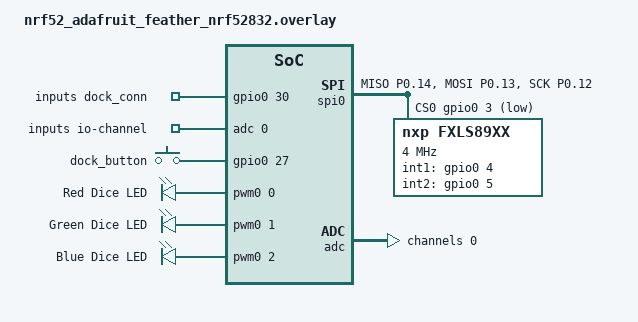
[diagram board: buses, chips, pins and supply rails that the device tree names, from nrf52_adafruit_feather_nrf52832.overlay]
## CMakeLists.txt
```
cmake_minimum_required(VERSION 3.20.0)

list(APPEND ZEPHYR_EXTRA_MODULES ${CMAKE_CURRENT_SOURCE_DIR}/modules/BP-FXLS89xx-Driver)

find_package(Zephyr REQUIRED HINTS $ENV{ZEPHYR_BASE})

project(lped)

target_sources(app PRIVATE src/lib/phy/phy_dice.c)
target_sources(app PRIVATE src/lib/side/side.c)
target_sources(app PRIVATE src/lib/bt/bt_dice.c)
target_sources(app PRIVATE src/lib/dock/dock.c)
target_sources(app PRIVATE src/lib/storage/storage.c)

target_sources(app PRIVATE src/main.c)
```

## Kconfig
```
source "$ZEPHYR_BASE/Kconfig"

menu "LPED feature options"

config LPED_IGNORE_DOCK_AT_STARTUP
    bool "Ignore dock connection at startup"
    default n
    help
        This option will set the LPED to ignore dock connection status on startup, 
        resulting in the dice always transitioning to the active state, instead of 
        determining what state it should transition based on the dock connection

config LPED_FACTORY_RESET_AT_STARTUP
    bool "Run factory reset at startup"
    default n
    help
        Erase all user settings from flash memory, including dice and side definitions, 
        blinking preferences and selected profile

config LPED_FORCE_CONNECTABLE_AT_STARTUP
    bool "Start in connectable state"
    default n
    depends on !LPED_IGNORE_DOCK_AT_STARTUP
    help
        Transition to connectable state at startup, allowing the dice to be connected 
        without pressing the dock button
        If this is enabled the CONFIG_LPED_IGNORE_DOCK_AT_STARTUP is ignored, since the 
        die has to transition into Bluetooth state regardless of the DOCK_CON pin state

config LPED_CAP_STATE_IN_ROLLING_MSG
    bool "Send cap state as a message content with rolling status"
    default y
    help
       Send the capacitor state of charge in ROLLING type status message, 
       saving one message for each dice throw. It is sent in every ROLLING
       message

config LPED_CAP_STATE_INTERVAL
    int "Interval for sending separate capacitor state message"
    default 3
    depends on !LPED_CAP_STATE_IN_ROLLING_MSG
    help 
        Defines interval between separate CAP_STATE status messages. For
        sending every dice throw, set to 0. This config is ignore if 
        CONFIG_LPED_CAP_STATE_IN_ROLLING_MSG is enabled.

config LPED_DOCK_DEBOUNCE_TIME
    int "Debounce time in ms for dock connection and button press"
    default 100
    help
        Debounce time for dock connection and button press to avoid
        reacting to distortions in the signal

config LPED_ACC_DEBOUNCE_TIME
    int "Debounce time for accelerometer interrupts"
    default 100
    help
       Debounce time for accelerometer interrupts to avoid reacting 
       to signal coming from the accelerometer changes that are too fast
       and should be ignored

config LPED_CONNECTABLE_TIMEOUT
    int "Defines for how many seconds should the die be connectable"
    default 30
    help 
        Defines for how many seconds should the die be connectable 
        after the button press. If this timeout is reached before 
        a device is connected, the die has to be reconnected into the
        dock in order to reset the visibility and connectable timer. 

config LPED_CONNECTED_TIMEOUT
    int "Defines for how many seconds should the die stay connected"
    default 600
    help
        Defines for how many seconds will the die stay connected to the 
        device between operations. This timer is reset after any read or 
        write of the GATT characteristic. After this timeout is reached
        the die will transition into invisible state

config LPED_DOCK_BUTTON_LONG_PRESS_DURATION
    int "Defines how many seconds it takes to register a button press as long press"
    default 2
    help 
        Defines how many seconds it takes to register a button press as long press

config LPED_ACC_BOOT_DURATION
    int "Defines how many milliseconds it takes for the accelerometer to boot up"
    default 20
    help
        Defines how many milliseconds it takes for the accelerometer to boot up. 
        During this time, interrupts received on INT1 and INT2 connected pins 
        will be ignored

config LPED_BT_STATE_INTERVAL
    int "Defines how many milliseconds are between accelerometer and capacitor state readings"
    default 100
    help
        Defines how many milliseconds are between accelerometer and capacitor state readings
        when the die is connected to a client application

config LPED_LED_DURATION_RESOLUTION
    int "Defines the steps in duration"
    default 100
    help 
        Defines the steps in duration in the animation effect. For example value 50ms would 
        result in possible range of 50ms to 800ms (2**4 * 50).

config LPED_LED_FADE_STEP
    int "Defines the step size for fading LED effects"
    default 7
    help 
        Defines the step size for fading LED effects

config LPED_LED_FADE_TYPE_FAST_DURATION 
    int "Defines the speed of fast fade"
    default 150 
    help 
        Defines how long will the fast fade effect take. This is additional time for each color. 

config LPED_LED_FADE_TYPE_SLOW_DURATION 
    int "Defines the speed of slow fade"
    default 300 
    help 
        Defines how long will the slow fade effect take. This is additional time for each color. 

config LPED_LED_EFFECTS_STACK_SIZE
    int "Defines size in bytes for the LED effects thread"
    default 1024
    help 
        Defines size in bytes for the LED effects thread

config LPED_CAP_MIN_READING
    int "Defines the value that represents 0% charge of the cap"
    default 121
    help
       Defines the value that represents 0% charge of the cap

config LPED_DEBUG_DISABLE_ACC
    bool "Enable to skip accelerometer inicialization and imports"
    default n
    help
       Enable to skip accelerometer inicialization and imports. Useful for new board testing and 
       debugging of accelerometer connection.

config LPED_DEBUG_NO_EXIT
    bool "Enable to keep the main thread running by placing infinite loop at the end of main"
    default n 
    help
       Enable to keep the main thread running by placing infinite loop at the end of main.

config LPED_BOOT_ANIMATION 
    bool "If enabled, a boot animation will be played when the dice finishes booting"
    default y
    help
        If enabled, a boot animation will be played when the dice finishes booting

config LPED_RGB_LED_COMMON_ANODE
    bool "Defines if the RGB LED has common anode (y) or cathode (n)"
    default y
    help 
        Defines if the RGB LED has common anode (y) or cathode (n)

endmenu
```

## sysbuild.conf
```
SB_CONFIG_BOOTLOADER_MCUBOOT=y
SB_CONFIG_PARTITION_MANAGER=y
```

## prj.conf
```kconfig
CONFIG_GPIO=y
CONFIG_ADC=y
CONFIG_SPI=y
CONFIG_PWM=y

CONFIG_LIB_FXLS89XX=y

# Flash storage
CONFIG_FLASH=y
CONFIG_NVS=y

CONFIG_MCUMGR=y
CONFIG_NET_BUF=y
CONFIG_ZCBOR=y
CONFIG_CRC=y
CONFIG_IMG_MANAGER=y
CONFIG_STREAM_FLASH=y
CONFIG_FLASH_MAP=y
CONFIG_MCUMGR_GRP_IMG=y
CONFIG_MCUMGR_GRP_OS=y
CONFIG_MCUMGR_GRP_OS_BOOTLOADER_INFO=y
CONFIG_MCUMGR_TRANSPORT_BT_REASSEMBLY=y
CONFIG_MCUMGR_GRP_OS_MCUMGR_PARAMS=y
CONFIG_MCUMGR_TRANSPORT_WORKQUEUE_STACK_SIZE=4608
CONFIG_BOOTLOADER_MCUBOOT=y
CONFIG_MCUBOOT_IMG_MANAGER=y
CONFIG_MCUMGR_TRANSPORT_BT=y
CONFIG_DFU_TARGET=y
CONFIG_BT_DFU_SMP=y
CONFIG_MCUMGR_GRP_ZBASIC=y
CONFIG_MCUMGR_GRP_ZBASIC_STORAGE_ERASE=y
CONFIG_MCUMGR_TRANSPORT_WORKQUEUE_STACK_SIZE=4608
CONFIG_BASE64=y
CONFIG_CRC=y
CONFIG_SHELL=y
CONFIG_MCUMGR_TRANSPORT_SHELL=y
CONFIG_MCUMGR_GRP_STAT=y
CONFIG_STATS_NAMES=y
CONFIG_STATS=y
CONFIG_MCUMGR_GRP_OS_TASKSTAT=y
CONFIG_THREAD_MONITOR=y

# Disable commands that are not needed
CONFIG_CLOCK_CONTROL_NRF_SHELL=n
CONFIG_DEVICE_SHELL=n
CONFIG_DEVMEM_SHELL=n
CONFIG_FLASH_SHELL=n

# LPED specific configs
CONFIG_LPED_FACTORY_RESET_AT_STARTUP=n
CONFIG_LPED_IGNORE_DOCK_AT_STARTUP=n
CONFIG_LPED_FORCE_CONNECTABLE_AT_STARTUP=n
CONFIG_LPED_CAP_STATE_IN_ROLLING_MSG=y
CONFIG_LPED_BT_STATE_INTERVAL=200
CONFIG_LPED_DEBUG_DISABLE_ACC=n
CONFIG_LPED_LED_EFFECTS_STACK_SIZE=2048
CONFIG_LPED_BOOT_ANIMATION=n
CONFIG_LPED_LED_FADE_TYPE_FAST_DURATION=100
CONFIG_LPED_RGB_LED_COMMON_ANODE=y

CONFIG_BT=y
CONFIG_BT_DEVICE_NAME="LPEDv2"
CONFIG_BT_EXT_ADV=y

CONFIG_BT_BROADCASTER=y
CONFIG_BT_PERIPHERAL=y

CONFIG_BT_BAS=y

# memory size optimizations
CONFIG_I2C=n
CONFIG_WATCHDOG=n
CONFIG_SERIAL=n
CONFIG_DYNAMIC_INTERRUPTS=n
CONFIG_THREAD_STACK_INFO=y
CONFIG_THREAD_CUSTOM_DATA=n
CONFIG_FPU=n
CONFIG_BT_CTLR_PRIVACY=n
CONFIG_BT_CTLR_PHY_2M=n
CONFIG_BT_DEBUG_NONE=y
CONFIG_BT_ASSERT=n
CONFIG_BT_DATA_LEN_UPDATE=n
CONFIG_BT_PHY_UPDATE=n
CONFIG_BT_GATT_SERVICE_CHANGED=n
CONFIG_BT_GAP_PERIPHERAL_PREF_PARAMS=n
CONFIG_BT_BUF_EVT_DISCARDABLE_COUNT=1
CONFIG_BT_BUF_EVT_RX_COUNT=2
CONFIG_BT_L2CAP_TX_BUF_COUNT=2
CONFIG_BT_L2CAP_TX_MTU=498
CONFIG_BT_BUF_ACL_RX_SIZE=502
CONFIG_BT_BUF_ACL_TX_SIZE=502
CONFIG_BT_RX_STACK_SIZE=2048
CONFIG_BT_HCI_TX_STACK_SIZE_WITH_PROMPT=y
CONFIG_BT_HCI_TX_STACK_SIZE=2048
CONFIG_SYSTEM_WORKQUEUE_STACK_SIZE=4096
CONFIG_MAIN_STACK_SIZE=2400
CONFIG_IDLE_STACK_SIZE=128
CONFIG_ISR_STACK_SIZE=1024

CONFIG_PM_DEVICE=y
CONFIG_PM_DEVICE_RUNTIME=y
CONFIG_REBOOT=y
CONFIG_POWEROFF=y
```

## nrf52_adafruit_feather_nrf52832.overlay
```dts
// To get started, press Ctrl+Space to bring up the completion menu and view the available nodes.

// You can also use the buttons in the sidebar to perform actions on nodes.
// Actions currently available include:

// * Enabling / disabling the node
// * Adding the bus to a bus
// * Removing the node
// * Connecting ADC channels

// For more help, browse the DeviceTree documentation at https://docs.zephyrproject.org/latest/guides/dts/index.html
// You can also visit the nRF DeviceTree extension documentation at https://docs.nordicsemi.com/bundle/nrf-connect-vscode/page/guides/ncs_configure_app.html#devicetree-support-in-the-extension


&spi0 {
	status = "okay";
	compatible = "nordic,nrf-spi";
	pinctrl-0 = <&spi0_default>;
	pinctrl-1 = <&spi0_sleep>;
	pinctrl-names = "default", "sleep";
	cs-gpios = <&gpio0 3 GPIO_ACTIVE_LOW>;
	fxls89xx: fxls89xx@0 {
		zephyr,pm-device-runtime-auto;
		compatible = "nxp,fxls89xx";
		reg = <0x0>;
		spi-max-frequency = <4000000>;
		int1-gpios = <&gpio0 4 GPIO_PULL_UP>;
		int2-gpios = <&gpio0 5 GPIO_PULL_UP>;
	};
};

&pinctrl {
	spi0_default: spi0_default {
		group1 {
			psels = <NRF_PSEL(SPIM_MISO,	0, 	14)>,
					<NRF_PSEL(SPIM_MOSI, 	0, 	13)>,
					<NRF_PSEL(SPIM_SCK, 	0, 	12)>;
		};
	};

	spi0_sleep: spi0_sleep {
		group1 {
			psels = <NRF_PSEL(SPIM_MISO,	0, 	14)>,
					<NRF_PSEL(SPIM_MOSI, 	0, 	13)>,
					<NRF_PSEL(SPIM_SCK, 	0, 	12)>;
			low-power-enable;
		};
	};
};

/ {
	inputs: zephyr,user {
		dock_conn-gpios = <&gpio0 30 GPIO_PULL_DOWN>;
		io-channels = <&adc 0>;
	};

	buttons {
		dockbutton: dock_button {
			gpios = <&gpio0 27 GPIO_PULL_DOWN>;
			label = "dock_button";
		};
	};

	pwmleds {
		compatible = "pwm-leds";
		diceled_red: dice_led_red {
			pwms = <&pwm0 0 20000 0>;
			label = "Red Dice LED";
		};

		diceled_green: dice_led_green {
			pwms = <&pwm0 1 20000 0>;
			label = "Green Dice LED";
		};

		diceled_blue: dice_led_blue {
			pwms = <&pwm0 2 20000 0>;
			label = "Blue Dice LED";
		};
	};
};

&adc {
	status = "okay";
	#address-cells = <1>;
	#size-cells = <0>;
	channel@0 {
		reg = <0>;
		zephyr,gain = "ADC_GAIN_1_6";			// Gain of 1/6 with internal reference (0.6V) results in range of +-3.6V
		zephyr,reference = "ADC_REF_INTERNAL";
		zephyr,acquisition-time = <ADC_ACQ_TIME_DEFAULT>;
		zephyr,input-positive = <NRF_SAADC_AIN0>;
		zephyr,resolution = <12>;
	};
};

&pwm0_default {
	group1 {
		psels = <NRF_PSEL(PWM_OUT0, 0, 16)>,
				<NRF_PSEL(PWM_OUT1, 0, 15)>,
				<NRF_PSEL(PWM_OUT2, 0, 7)>;
	};
};
```

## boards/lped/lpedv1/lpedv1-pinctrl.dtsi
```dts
&pinctrl {
	spi0_default: spi0_default {
		group1 {
			psels = <NRF_PSEL(SPIM_MISO,	0, 	20)>,
					<NRF_PSEL(SPIM_MOSI, 	0, 	18)>,
					<NRF_PSEL(SPIM_SCK, 	0, 	16)>;
		};
	};

	spi0_sleep: spi0_sleep {
		group1 {
			psels = <NRF_PSEL(SPIM_MISO,	0, 	20)>,
					<NRF_PSEL(SPIM_MOSI, 	0, 	18)>,
					<NRF_PSEL(SPIM_SCK, 	0, 	16)>;
			low-power-enable;
		};
	};
};
```

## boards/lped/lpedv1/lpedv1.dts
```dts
/dts-v1/;
#include <nordic/nrf52810_qfaa.dtsi>
#include "lpedv1-pinctrl.dtsi"

/ {
	model = "LPEDv1 board";
	compatible = "lped,lpedv1";

	chosen {
		zephyr,sram = &sram0;
		zephyr,flash = &flash0;
		zephyr,code-partition = &slot0_partition;
	};

	leds {
		compatible = "gpio-leds";
		diceled: dice_led {
			gpios = <&gpio0 6 (1 << 9)>;
			label = "Dice LED";
		};

		dockled: dock_led {
			gpios = <&gpio0 5 (1 << 9)>;
			label = "Dock LED";
		};
	};

	inputs: zephyr,user {
		dock_conn-gpios = <&gpio0 4 GPIO_PULL_DOWN>;
		io-channels = <&adc 0>;
	};

	buttons {
		compatible = "gpio-keys";
		dockbutton: dock_button {
			gpios = <&gpio0 9 GPIO_PULL_DOWN>;
			label = "dock_button";
		};
	};
};

&gpio0 {
	status = "okay";
};

&gpiote {
	status = "okay";
};

&spi0 {
	status = "okay";
	compatible = "nordic,nrf-spi";
	pinctrl-0 = <&spi0_default>;
	pinctrl-1 = <&spi0_sleep>;
	pinctrl-names = "default", "sleep";
	cs-gpios = <&gpio0 14 GPIO_ACTIVE_LOW>;
	fxls89xx: fxls89xx@0 {
		zephyr,pm-device-runtime-auto;
		compatible = "nxp,fxls89xx";
		reg = <0x0>;
		spi-max-frequency = <2000000>;
		int1-gpios = <&gpio0 12 GPIO_PULL_UP>;
		int2-gpios = <&gpio0 15 GPIO_PULL_UP>;
	};
};

&adc {
	status = "okay";
	#address-cells = <1>;
	#size-cells = <0>;
	channel@0 {
		reg = <0>;
		zephyr,gain = "ADC_GAIN_1_6";			// Gain of 1/6 with internal reference (0.6V) results in range of +-3.6V
		zephyr,reference = "ADC_REF_INTERNAL";
		zephyr,acquisition-time = <ADC_ACQ_TIME_DEFAULT>;
		zephyr,input-positive = <NRF_SAADC_AIN6>;
		zephyr,resolution = <12>;
	};
};


&flash0 {
	partitions {
		compatible = "fixed-partitions";
		#address-cells = <1>;
		#size-cells = <1>;

		boot_partition: partition@0 {
			label = "mcuboot";
			reg = <0x00000000 DT_SIZE_K(48)>;
		};

		slot0_partition: partition@c000 {
			label = "image-0";
			reg = <0x0000c000 DT_SIZE_K(56)>;
		};

		slot1_partition: partition@1a000 {
			label = "image-1";
			reg = <0x0001a000 DT_SIZE_K(56)>;
		};

		storage_partition: partition@28000 {
			label = "storage";
			reg = <0x00028000 DT_SIZE_K(32)>;
		};
	};
};
```

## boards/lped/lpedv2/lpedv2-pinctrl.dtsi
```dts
&pinctrl {
	spi0_default: spi0_default {
		group1 {
			psels = <NRF_PSEL(SPIM_MISO,	0, 	31)>,
					<NRF_PSEL(SPIM_MOSI, 	0, 	30)>,
					<NRF_PSEL(SPIM_SCK, 	0, 	29)>;
		};
	};

	spi0_sleep: spi0_sleep {
		group1 {
			psels = <NRF_PSEL(SPIM_MISO,	0, 	31)>,
					<NRF_PSEL(SPIM_MOSI, 	0, 	30)>,
					<NRF_PSEL(SPIM_SCK, 	0, 	29)>;
			low-power-enable;
		};
	};

	pwm0_default: pwm0_default {
		group1 {
			psels = <NRF_PSEL(PWM_OUT0, 0, 15)>,
					<NRF_PSEL(PWM_OUT1, 0, 17)>,
					<NRF_PSEL(PWM_OUT2, 0, 20)>;
		};
	};

	pwm0_sleep: pwm0_sleep {
		group1 {
			psels = <NRF_PSEL(PWM_OUT0, 0, 15)>,
					<NRF_PSEL(PWM_OUT1, 0, 17)>,
					<NRF_PSEL(PWM_OUT2, 0, 20)>;
		};
	};
};
```

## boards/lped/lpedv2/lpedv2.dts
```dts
/dts-v1/;
#include <nordic/nrf52833_qdaa.dtsi>
#include "lpedv2-pinctrl.dtsi"

/ {
	model = "LPEDv2 board";
	compatible = "lped,lpedv2";

	chosen {
		zephyr,sram = &sram0;
		zephyr,flash = &flash0;
		zephyr,code-partition = &slot0_partition;
	};

	pwmleds {
		compatible = "pwm-leds";
		diceled_red: dice_led_red {
			pwms = <&pwm0 0 20000 0>;
			label = "Red Dice LED";
		};

		diceled_green: dice_led_green {
			pwms = <&pwm0 1 20000 0>;
			label = "Green Dice LED";
		};

		diceled_blue: dice_led_blue {
			pwms = <&pwm0 2 20000 0>;
			label = "Blue Dice LED";
		};
	};

	inputs: zephyr,user {
		dock_conn-gpios = <&gpio0 0 GPIO_PULL_DOWN>;
		io-channels = <&adc 0>;
	};
};

&gpio0 {
	status = "okay";
};

&gpiote {
	status = "okay";
};

&spi0 {
	status = "okay";
	compatible = "nordic,nrf-spi";
	pinctrl-0 = <&spi0_default>;
	pinctrl-1 = <&spi0_sleep>;
	pinctrl-names = "default", "sleep";
	cs-gpios = <&gpio0 2 GPIO_ACTIVE_LOW>;
	fxls89xx: fxls89xx@0 {
		zephyr,pm-device-runtime-auto;
		compatible = "nxp,fxls89xx";
		reg = <0x0>;
		spi-max-frequency = <2000000>;
		int1-gpios = <&gpio0 3 GPIO_PULL_UP>;
		int2-gpios = <&gpio0 28 GPIO_PULL_UP>;
	};
};

&adc {
	status = "okay";
	#address-cells = <1>;
	#size-cells = <0>;
	channel@0 {
		reg = <0>;
		zephyr,gain = "ADC_GAIN_1_6";			// Gain of 1/6 with internal reference (0.6V) results in range of +-3.6V
		zephyr,reference = "ADC_REF_INTERNAL";
		zephyr,acquisition-time = <ADC_ACQ_TIME_DEFAULT>;
		zephyr,input-positive = <NRF_SAADC_AIN2>;
		zephyr,resolution = <12>;
	};
};


&flash0 {
	partitions {
		compatible = "fixed-partitions";
		#address-cells = <1>;
		#size-cells = <1>;

		boot_partition: partition@0 {
			label = "mcuboot";
			reg = <0x00000000 DT_SIZE_K(48)>;
		};

		slot0_partition: partition@c000 {
			label = "image-0";
			reg = <0x0000c000 DT_SIZE_K(56)>;
		};

		slot1_partition: partition@1a000 {
			label = "image-1";
			reg = <0x0001a000 DT_SIZE_K(56)>;
		};

		storage_partition: partition@28000 {
			label = "storage";
			reg = <0x00028000 DT_SIZE_K(32)>;
		};
	};
};

&pwm0 {
	status = "okay";
	pinctrl-0 = <&pwm0_default>;
	pinctrl-1 = <&pwm0_sleep>;
	pinctrl-names = "default", "sleep";
};
```

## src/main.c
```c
#include <zephyr/kernel.h>
#include <zephyr/drivers/spi.h>
#include <zephyr/drivers/gpio.h>
#include <zephyr/dfu/mcuboot.h>
#include <zephyr/sys/poweroff.h>

#ifndef CONFIG_LPED_DEBUG_DISABLE_ACC
#include <libfxls89xx.h>
#endif

#include "lib/side/side.h"
#include "lib/bt/bt_dice.h"
#include "lib/phy/phy_dice.h"
#include "lib/dock/dock.h"
#include "lib/storage/storage.h"
#include "lib/side/side_defs.h"

#ifndef CONFIG_LPED_DEBUG_DISABLE_ACC
static const struct device *acc = DEVICE_DT_GET_ANY(nxp_fxls89xx);

// helper function to configure accelerometer into interrupt state
void acc_configure_int() {
	fxls89xx_configure_sdcd(acc, fxls89xx_sdcd_reference_update_always, fxls89xx_sdcd_input_mode_standard, -100, 100);
	fxls89xx_configure_sdcd_within(acc, false, true, true, true, 1, fxls89xx_sdcd_counter_decrement, fxls89xx_sdcd_logic_mode_and);

	fxls89xx_set_auto_timeout(acc, 2);
	fxls89xx_enable_auto_source(acc, fxls89xx_aslp_source_sdcd_wt, true);
	fxls89xx_enable_sdcd(acc, true);
	fxls89xx_interrupt_enable(acc, fxls89xx_interrupt_source_wake_out, true);
}

static struct gpio_callback acc_int1_callback_gpio;
//static struct gpio_callback int2_callback_gpio;
#endif

static struct gpio_callback int_dock_conn_callback_gpio;

static struct dock_dev dock;
static struct phy_dice_dev phy_dice;
static struct bt_dice_dev bt_dice;

#ifndef CONFIG_LPED_DEBUG_DISABLE_ACC
static uint8_t cap_state_interval_counter = 0;

// debounce timers for interrupts
static uint32_t acc_int1_debounce = 0;
static uint32_t acc_int2_debounce = 0;
#endif
static uint32_t dock_con_debounce = 0;

// worker threads invoked from ISRs
#ifndef CONFIG_LPED_DEBUG_DISABLE_ACC
struct k_work acc_int1_work;
struct k_work acc_int2_work;
#endif
struct k_work dock_btn_work;
struct k_work dock_con_work;
struct k_work dice_visible_timeout_work;
struct k_work dice_connectable_timeout_work;
struct k_work dice_connected_timeout_work;
struct k_work dice_connected_work;
struct k_work dice_disconnected_work;

static uint8_t ignore_dock_disconnect = false;

static uint32_t last_boot_time;

static uint8_t comm_mode;

#ifndef CONFIG_LPED_DEBUG_DISABLE_ACC
static side_definition_t side_def;
static dice_definition_t dice_def;
static uint8_t side_blink;
static uint8_t error_blink;
static uint8_t cap_state;

void acc_int1_callback(struct k_work *work) {
	storage_get_comm_mode(&comm_mode);

	if (fxls89xx_get_int_pin_state(acc, fxls89xx_interrupt_pin_int1)) {
		storage_get_current_dice_definition(&dice_def);

		determine_side(
			&dice_def,
			fxls89xx_get_acceleration(acc, fxls89xx_axis_x),
			fxls89xx_get_acceleration(acc, fxls89xx_axis_y),
			fxls89xx_get_acceleration(acc, fxls89xx_axis_z),
			&side_def
		);

		printk("Landed on number: %u\n", side_def.number);

		storage_get_side_blink(&side_blink);
		storage_get_error_blink(&error_blink);

		if (side_blink || error_blink) 	dice_led_off(&phy_dice);

		if (side_def.number != 0)   {
			if (side_blink) dice_led_start_animation(&phy_dice, &side_def.animation);

			if (comm_mode) 	dice_bt_set_dice_number(&bt_dice, &side_def.number, bt_message_dice_number);
			else 			dice_bt_broadcast(&side_def.number, bt_message_dice_number);
		}

		else {
			if (error_blink) dice_led_start_error_solid_animation(&phy_dice);

			if (comm_mode) 	dice_bt_set_dice_number(&bt_dice, NULL, bt_message_unknown);
			else 			dice_bt_broadcast(NULL, bt_message_unknown);
		}

		if (!IS_ENABLED(CONFIG_LPED_CAP_STATE_IN_ROLLING_MSG)) {
			dice_get_cap_state(&phy_dice, &cap_state);

#ifdef CONFIG_LPED_CAP_STATE_INTERVAL
			if (++cap_state_interval_counter >=x CONFIG_LPED_CAP_STATE_INTERVAL) {
				cap_state_interval_counter = 0;
				dice_get_cap_state(&phy_dice, &cap_state);

				if (comm_mode) 	dice_bt_set_cap_state(&bt_dice, &cap_state);
				else 			dice_bt_broadcast(&cap_state, bt_message_cap_state);
			}
#endif
		}
	}

	// Interrupt event started (movement started)
	else {
		if (IS_ENABLED(CONFIG_LPED_CAP_STATE_IN_ROLLING_MSG)) {
			dice_get_cap_state(&phy_dice, &cap_state);

			if (comm_mode) {
				dice_bt_set_cap_state(&bt_dice, &cap_state);
				dice_bt_set_dice_number(&bt_dice, NULL, bt_message_rolling);
			}

			else {
				dice_bt_broadcast(&cap_state, bt_message_rolling);
			}
		}

		else {
			cap_state_interval_counter = 0;
			if (comm_mode) 	dice_bt_set_dice_number(&bt_dice, NULL, bt_message_rolling);
			else 			dice_bt_broadcast(NULL, bt_message_rolling);
		}
	}
}

void acc_int2_callback(struct k_work *work) {
}
#endif

void dock_con_callback(struct k_work *work) {
	if (ignore_dock_disconnect) return;
	k_msleep(10);
	storage_get_comm_mode(&comm_mode);

	// Rising edge
	if (dock_get_conn_state()) {
		printk("Charging dock connected\n");
#ifndef CONFIG_LPED_DEBUG_DISABLE_ACC
		fxls89xx_set_mode(acc, fxls89xx_sys_mode_standby);
#endif

		if (bt_dice.status != bt_status_connected) dice_led_on_color(&phy_dice, &COLOR_BLUE_BRIGHT);
		dice_bt_set_connectable(&bt_dice);
	}

	// Falling edge
	else {
		printk("Charging dock disconnected\n");
		if (!comm_mode) {
			dice_bt_set_invisible(&bt_dice);
			dice_led_off(&phy_dice);
		}

		else {
			if (bt_dice.status != bt_status_connected) dice_led_on_color(&phy_dice, &COLOR_BLUE_BRIGHT);
			dice_bt_set_connectable(&bt_dice);
		}

#ifndef CONFIG_LPED_DEBUG_DISABLE_ACC
		acc_configure_int();
		fxls89xx_set_mode(acc, fxls89xx_sys_mode_active);
#endif
	}
}       

void bt_dice_get_acceleration_values_callback(int16_t *accel_values) {
#ifndef CONFIG_LPED_DEBUG_DISABLE_ACC
	fxls89xx_interrupt_enable(acc, fxls89xx_interrupt_source_wake_out, false);
    fxls89xx_set_int2_function(acc, fxls89xx_int2_function_trigger);
    fxls89xx_trigger_read(acc);
	while (!fxls89xx_data_ready(acc)) k_msleep(5);
    accel_values[0] = fxls89xx_get_acceleration(acc, fxls89xx_axis_x);
    accel_values[1] = fxls89xx_get_acceleration(acc, fxls89xx_axis_y);
    accel_values[2] = fxls89xx_get_acceleration(acc, fxls89xx_axis_z);
    fxls89xx_set_int2_function(acc, fxls89xx_int2_function_interrupt);
#endif
}

void bt_dice_get_cap_state_callback(uint8_t *cap_state) {
	dice_get_cap_state(&phy_dice, cap_state);
}

void bt_dice_set_ignore_dock_connection_callback(bool ignore) {
	ignore_dock_disconnect = ignore;
	if (!ignore_dock_disconnect) k_work_submit(&dock_con_work);
}

void bt_dice_set_animation_callback(const animation_t *animation) {
	dice_led_start_animation(&phy_dice, animation);
}

#ifndef CONFIG_LPED_DEBUG_DISABLE_ACC
void acc_int1_isr(const struct device *dev, struct gpio_callback *callback_gpio, uint32_t pins) {
	if (
		acc_int1_debounce + CONFIG_LPED_ACC_DEBOUNCE_TIME > k_uptime_get_32() || 
		last_boot_time + CONFIG_LPED_ACC_BOOT_DURATION > k_uptime_get_32()
	) {
		return;
	}
	k_work_submit(&acc_int1_work);
	acc_int1_debounce = k_uptime_get_32();
}

void acc_int2_isr(const struct device *dev, struct gpio_callback *callback_gpio, uint32_t pins) {
	if (
		acc_int2_debounce + CONFIG_LPED_ACC_DEBOUNCE_TIME > k_uptime_get_32() || 
		last_boot_time + CONFIG_LPED_ACC_BOOT_DURATION > k_uptime_get_32()
	) {
		return;
	}
	acc_int2_debounce = k_uptime_get_32();
}
#endif

void dock_con_isr(const struct device *dev, struct gpio_callback *callback_gpio, uint32_t pins) {
	if (dock_con_debounce + CONFIG_LPED_DOCK_DEBOUNCE_TIME > k_uptime_get_32()) return;
	k_work_submit(&dock_con_work);
	dock_con_debounce = k_uptime_get_32();
}

// Workers for handling bluetooth interaction - Pairing button long press, visibility timedout and connectable timedout
void dice_connectable_timeout_callback(struct k_work *work) 
{
	dice_bt_set_invisible(&bt_dice);
	dice_led_off(&phy_dice);
}

void dice_connected_timeout_callback(struct k_work *work) 
{
	ignore_dock_disconnect = false;
	dice_bt_set_invisible(&bt_dice);
	dice_led_off(&phy_dice);
}

void dice_connected_callback(struct k_work *work) 
{
	dice_led_start_connected_animation(&phy_dice);
}

void dice_disconnected_callback(struct k_work *work) 
{
	// Return this to default value in case that the client
	// application doesn't do it, which would require additional
	// restart of the die
	ignore_dock_disconnect = false;


	dice_bt_set_connectable(&bt_dice);
	dice_led_on_color(&phy_dice, &COLOR_BLUE_BRIGHT);
}

int main(void)
{
	storage_init();

	last_boot_time = k_uptime_get_32();

	if (IS_ENABLED(CONFIG_LPED_FACTORY_RESET_AT_STARTUP)) storage_clear();

	dice_bt_init(
		&bt_dice, 
		K_SECONDS(CONFIG_LPED_CONNECTABLE_TIMEOUT),
		K_SECONDS(CONFIG_LPED_CONNECTED_TIMEOUT),
		&dice_connectable_timeout_work,
		&dice_connected_timeout_work,  
		&dice_connected_work, 
		&dice_disconnected_work,
		bt_dice_get_acceleration_values_callback,
		bt_dice_get_cap_state_callback,
		bt_dice_set_ignore_dock_connection_callback,
		bt_dice_set_animation_callback
	);

	dice_phy_init(&phy_dice);

	dock_init(&dock);

#ifndef CONFIG_LPED_DEBUG_DISABLE_ACC
	k_work_init(&acc_int1_work, acc_int1_callback);
	k_work_init(&acc_int2_work, acc_int2_callback);
#endif
	k_work_init(&dock_con_work, dock_con_callback);
	k_work_init(&dice_connectable_timeout_work, dice_connectable_timeout_callback);
	k_work_init(&dice_connected_timeout_work, dice_connected_timeout_callback);
	k_work_init(&dice_connected_work, dice_connected_callback);
	k_work_init(&dice_disconnected_work, dice_disconnected_callback);

	dock_conn_int_init(&int_dock_conn_callback_gpio, dock_con_isr);

	// Accelerometer setup
#ifndef CONFIG_LPED_DEBUG_DISABLE_ACC
	fxls89xx_set_range(acc, fxls89xx_range_2g);
	fxls89xx_set_mode(acc, fxls89xx_sys_mode_standby);
	fxls89xx_configure_state(acc, fxls89xx_state_wake, fxls89xx_odr_3_125Hz, fxls89xx_power_mode_low);
	fxls89xx_configure_state(acc, fxls89xx_state_sleep, fxls89xx_odr_6_25Hz, fxls89xx_power_mode_low);
	acc_configure_int();
	fxls89xx_interrupt_bind(acc, fxls89xx_interrupt_source_wake_out, fxls89xx_interrupt_pin_int1, GPIO_INT_EDGE_BOTH, &acc_int1_callback_gpio, acc_int1_isr);
#endif

	dice_led_off(&phy_dice);

	k_msleep(CONFIG_LPED_ACC_BOOT_DURATION);

	if (IS_ENABLED(CONFIG_LPED_FORCE_CONNECTABLE_AT_STARTUP)) {
#ifndef CONFIG_LPED_DEBUG_DISABLE_ACC
		fxls89xx_set_mode(acc, fxls89xx_sys_mode_standby);
#endif
		dice_bt_set_connectable(&bt_dice);
		dice_led_on_color(&phy_dice, &COLOR_BLUE_BRIGHT);
	}

	else {
		if (IS_ENABLED(CONFIG_LPED_IGNORE_DOCK_AT_STARTUP)) {
#ifndef CONFIG_LPED_DEBUG_DISABLE_ACC
			fxls89xx_set_mode(acc, fxls89xx_sys_mode_active);
#endif
			storage_get_comm_mode(&comm_mode);
			if (comm_mode) {
				dice_bt_set_connectable(&bt_dice);
				dice_led_on_color(&phy_dice, &COLOR_BLUE_BRIGHT);
			}
		}

		else {
			k_work_submit(&dock_con_work);
		}
 	}

	printk("LPED running\n");

	// run debug animation if acc is disabled
#ifdef CONFIG_LPED_BOOT_ANIMATION
	k_msleep(CONFIG_LPED_ACC_BOOT_DURATION * 2); // Give space to all worker threads that could turn the LED back off prematurely
	dice_led_start_animation(&phy_dice, &animation_boot);
#endif

	return 0;
}
```
